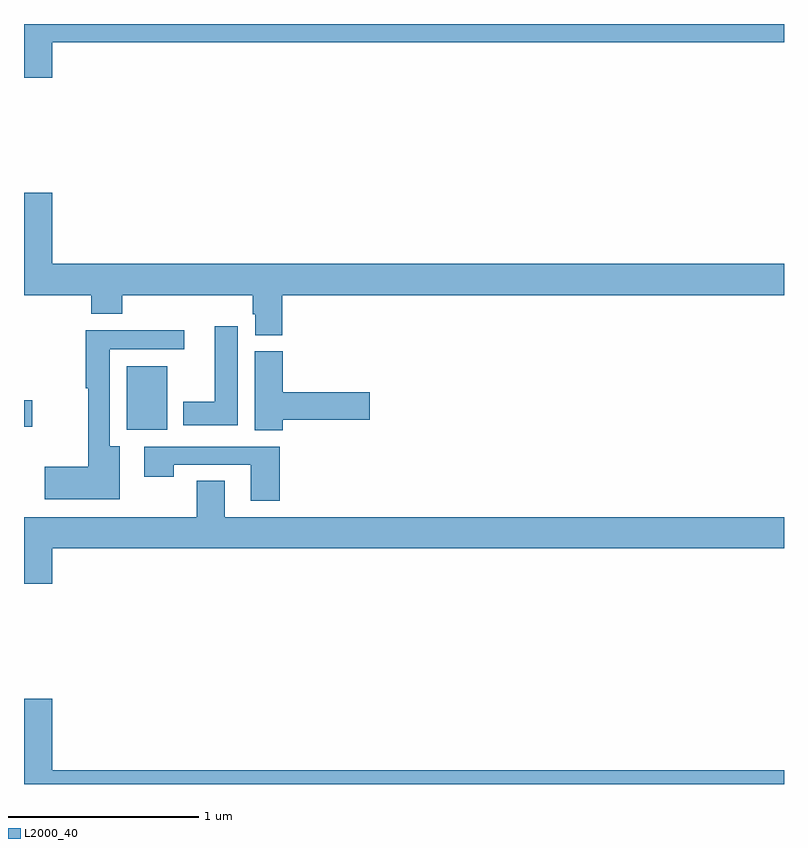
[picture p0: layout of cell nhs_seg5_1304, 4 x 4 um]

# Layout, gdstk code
import gdstk
lib = gdstk.Library(unit=1e-6, precision=1e-09)
def R(c, l, rs):  # rectangles x0, y0, x1, y1
    for r in rs: c.add(gdstk.rectangle(r[:2], r[2:], *l))
def P(c, l, *ps):  # polygons
    for p in ps: c.add(gdstk.Polygon(p, *l))
L2000_40 = (2000, 40)

nhs_seg5_1304 = lib.new_cell('nhs_seg5_1304')
R(nhs_seg5_1304, L2000_40, [(189.542,910.664,189.754,910.999), (189,910.678,189.043,910.82)])
P(nhs_seg5_1304, L2000_40, [(189.148,912.704),(193,912.704),(193,912.799),(189,912.799),(189,912.516),(189.148,912.516)],
  [(190.358,911.372),(193,911.372),(193,911.536),(189.148,911.536),(189.148,911.911),(189,911.911),(189,911.372),(189.353,911.372),(189.353,911.273),(189.518,911.273),(189.518,911.372),(190.205,911.372),(190.205,911.271),(190.217,911.271),(190.217,911.161),(190.358,911.161)],
  [(190.126,911.209),(190.004,911.209),(190.004,910.81),(189.839,910.81),(189.839,910.688),(190.126,910.688)],
  [(189.505,910.576),(189.451,910.576),(189.451,911.088),(189.844,911.088),(189.844,911.186),(189.326,911.186),(189.326,910.881),(189.338,910.881),(189.338,910.469),(189.108,910.469),(189.108,910.298),(189.505,910.298)],
  [(190.361,910.715),(190.819,910.715),(190.819,910.862),(190.361,910.862),(190.361,911.076),(190.214,911.076),(190.214,910.66),(190.361,910.66)],
  [(190.346,910.575),(189.633,910.575),(189.633,910.416),(189.789,910.416),(189.789,910.479),(190.193,910.479),(190.193,910.29),(190.346,910.29)],
  [(189.148,910.04),(193,910.04),(193,910.204),(190.057,910.204),(190.057,910.394),(189.91,910.394),(189.91,910.204),(189,910.204),(189,909.852),(189.148,909.852)],
  [(193,908.872),(189.148,908.872),(189.148,909.247),(189,909.247),(189,908.799),(193,908.799)])

lib.write_gds('nhs_seg5_1304.gds')
